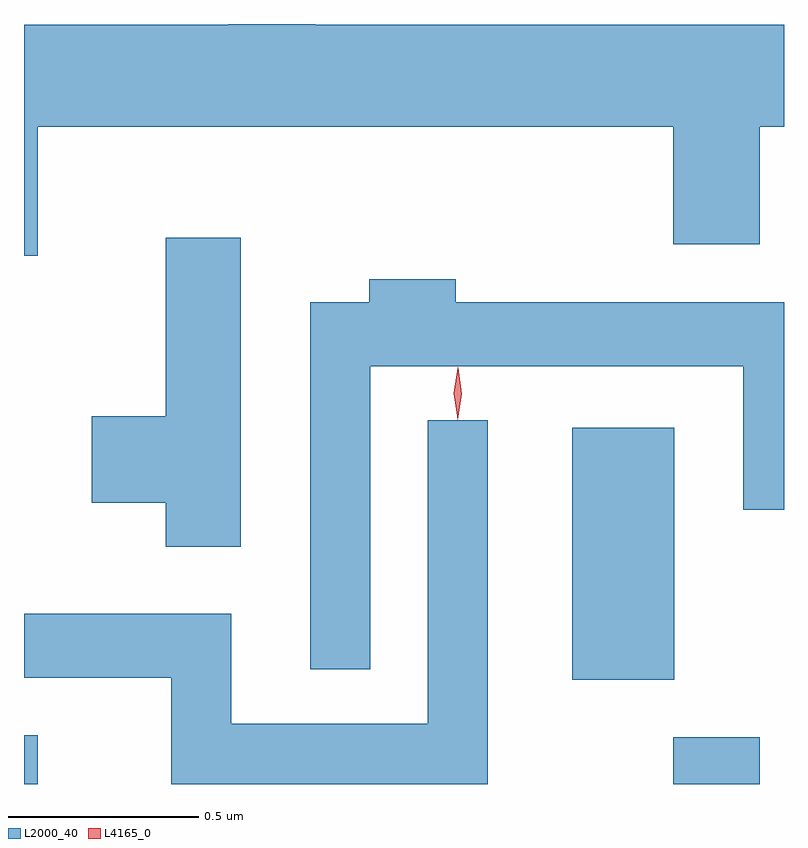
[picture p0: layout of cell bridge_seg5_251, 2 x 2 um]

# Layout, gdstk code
import gdstk
lib = gdstk.Library(unit=1e-6, precision=1e-09)
def R(c, l, rs):  # rectangles x0, y0, x1, y1
    for r in rs: c.add(gdstk.rectangle(r[:2], r[2:], *l))
def P(c, l, *ps):  # polygons
    for p in ps: c.add(gdstk.Polygon(p, *l))
L2000_40 = (2000, 40)
L4165_0 = (4165, 0)

bridge_seg5_251 = lib.new_cell('bridge_seg5_251')
R(bridge_seg5_251, L2000_40, [(1323.813,1426.206,1323.849,1426.334), (1325.521,1426.206,1325.749,1426.329), (1325.256,1426.481,1325.524,1427.144)])
P(bridge_seg5_251, L2000_40, [(1323.849,1427.936),(1325.521,1427.936),(1325.521,1427.626),(1325.749,1427.626),(1325.749,1427.936),(1325.813,1427.936),(1325.813,1428.204),(1324.579,1428.204),(1324.579,1428.206),(1324.351,1428.206),(1324.351,1428.204),(1323.813,1428.204),(1323.813,1427.596),(1323.849,1427.596)],
  [(1324.384,1427.644),(1324.186,1427.644),(1324.186,1427.174),(1323.991,1427.174),(1323.991,1426.946),(1324.186,1426.946),(1324.186,1426.831),(1324.384,1426.831)],
  [(1324.724,1427.306),(1325.706,1427.306),(1325.706,1426.928),(1325.813,1426.928),(1325.813,1427.474),(1324.949,1427.474),(1324.949,1427.534),(1324.721,1427.534),(1324.721,1427.474),(1324.566,1427.474),(1324.566,1426.508),(1324.724,1426.508)],
  [(1325.034,1427.163),(1324.876,1427.163),(1324.876,1426.364),(1324.359,1426.364),(1324.359,1426.654),(1323.813,1426.654),(1323.813,1426.486),(1324.201,1426.486),(1324.201,1426.206),(1325.034,1426.206)])
P(bridge_seg5_251, L4165_0, [(1324.954,1427.167),(1324.944,1427.234),(1324.954,1427.3),(1324.954,1427.3),(1324.955,1427.3),(1324.964,1427.234),(1324.955,1427.167),(1324.955,1427.167)],
  [(1324.954,1427.164),(1324.945,1427.234),(1324.955,1427.302),(1324.955,1427.303),(1324.956,1427.302),(1324.965,1427.233),(1324.955,1427.164),(1324.955,1427.164)])

lib.write_gds('bridge_seg5_251.gds')
